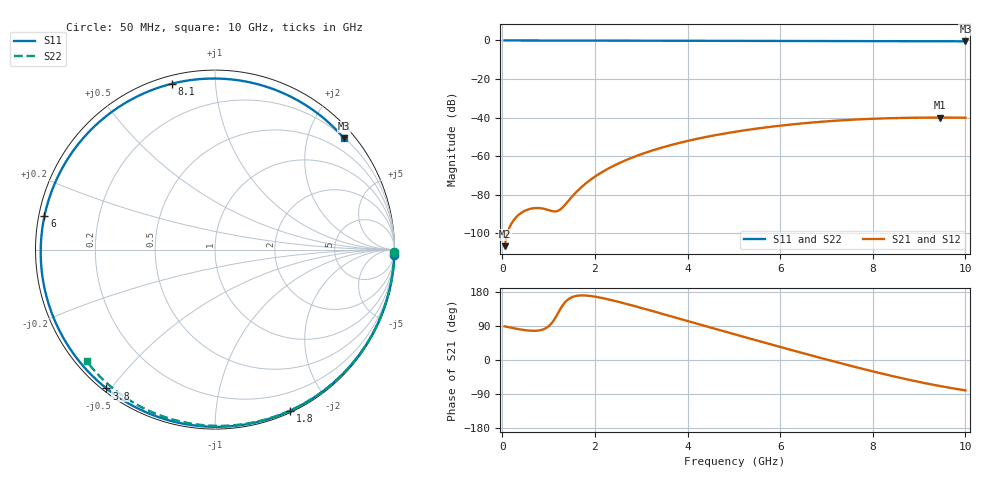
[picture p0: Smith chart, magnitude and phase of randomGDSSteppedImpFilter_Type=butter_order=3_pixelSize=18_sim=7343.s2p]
! freq	dB(S11)	phase(S11)	dB(S12)	phase(S12)
!  dB(S21)	phase(S21)	dB(S22)	phase(S22)
!S-par simulation data
#  GHz  S  DB  R 50
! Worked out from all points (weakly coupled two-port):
!   200 points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, 50 MHz to 10 GHz, reference 50 ohm
!   highest |S21| = -39.96 dB at 9.45 GHz (marker M1); lowest = -106.6 dB at 50 MHz (marker M2)
!   lowest |S11| = -0.5 dB at 10 GHz (marker M3), VSWR 38.25, Z = 10.7 + j134 ohm
!   |S11| at or under -10 dB: nowhere
!   |S22| runs from -0.5 to 0.0 dB; largest |S21 - S12| = 0
!   S11 on the Smith chart (normalised r, x): 50 MHz: 0, -61; 1.8 GHz: 0.02, -1.57; 3.8 GHz: 0.01, -0.49; 6 GHz: 0.02, +0.10; 8.1 GHz: 0.04, +0.77; 10 GHz: 0.21, +2.68
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0.05  -0.00 -1.9  -106.61 88.7  -106.61 88.7  -0.00 -0.8
0.75  -0.04 -27.7  -86.81 77.3  -86.81 77.3  -0.02 -12.0
1.5  -0.07 -54.6  -81.10 165.5  -81.10 165.5  -0.03 -23.8
1.55  -0.07 -56.3  -79.78 167.7  -79.78 167.7  -0.03 -24.6
1.75  -0.08 -63.2  -75.15 170.4  -75.15 170.4  -0.04 -27.7
1.8  -0.08 -64.9  -74.14 170.2  -74.14 170.2  -0.04 -28.5
2.1  -0.09 -75.0  -69.01 165.0  -69.01 165.0  -0.04 -33.1
2.45  -0.11 -86.5  -64.41 155.3  -64.41 155.3  -0.05 -38.5
2.9  -0.12 -100.8  -59.83 140.8  -59.83 140.8  -0.06 -45.3
3.4  -0.14 -116.1  -55.84 123.7  -55.84 123.7  -0.07 -52.7
3.8  -0.16 -128.0  -53.23 109.9  -53.23 109.9  -0.08 -58.5
4.45  -0.19 -146.9  -49.78 87.3  -49.78 87.3  -0.10 -67.8
5.05  -0.22 -164.0  -47.24 66.7  -47.24 66.7  -0.12 -76.2
5.55  -0.25 -178.2  -45.50 49.6  -45.50 49.6  -0.14 -83.0
6  -0.28 168.8  -44.17 34.4  -44.17 34.4  -0.15 -89.0
6.7  -0.32 148.3  -42.50 11.2  -42.50 11.2  -0.19 -98.1
7.45  -0.37 125.4  -41.21 -13.1  -41.21 -13.1  -0.24 -107.7
8.1  -0.40 104.7  -40.49 -33.0  -40.49 -33.0  -0.28 -115.8
8.35  -0.41 96.5  -40.30 -40.3  -40.30 -40.3  -0.30 -118.9
8.9  -0.43 78.1  -40.04 -55.3  -40.04 -55.3  -0.35 -125.6
9.45  -0.44 59.5  -39.96 -68.7  -39.96 -68.7  -0.41 -132.3
10  -0.45 40.8  -40.04 -80.2  -40.04 -80.2  -0.47 -138.9
